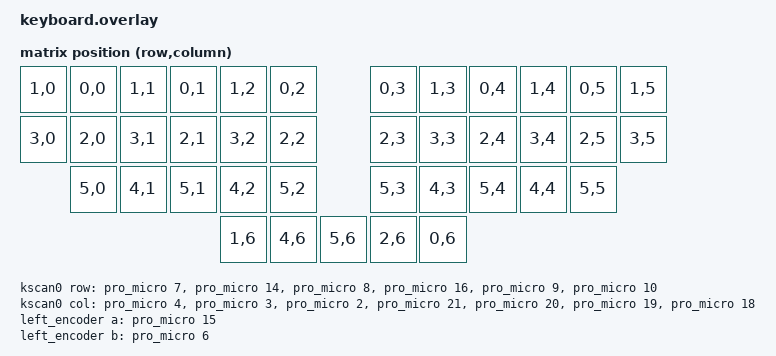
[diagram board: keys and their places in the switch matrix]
#include <dt-bindings/zmk/matrix_transform.h>
#include <physical_layouts.dtsi>

/ {
    chosen {
        zmk,kscan = &kscan0;
        zmk,physical-layout = &physical_layout0;
    };

    kscan0: kscan0 {
        compatible = "zmk,kscan-gpio-matrix";
        wakeup-source;
        diode-direction = "row2col";
        row-gpios
            = <&pro_micro 7 GPIO_ACTIVE_HIGH>
            , <&pro_micro 14 GPIO_ACTIVE_HIGH>
            , <&pro_micro 8 GPIO_ACTIVE_HIGH>
            , <&pro_micro 16 GPIO_ACTIVE_HIGH>
            , <&pro_micro 9 GPIO_ACTIVE_HIGH>
            , <&pro_micro 10 GPIO_ACTIVE_HIGH>
            ;
        col-gpios
            = <&pro_micro 4 (GPIO_ACTIVE_HIGH | GPIO_PULL_DOWN)>
            , <&pro_micro 3 (GPIO_ACTIVE_HIGH | GPIO_PULL_DOWN)>
            , <&pro_micro 2 (GPIO_ACTIVE_HIGH | GPIO_PULL_DOWN)>
            , <&pro_micro 21 (GPIO_ACTIVE_HIGH | GPIO_PULL_DOWN)>
            , <&pro_micro 20 (GPIO_ACTIVE_HIGH | GPIO_PULL_DOWN)>
            , <&pro_micro 19 (GPIO_ACTIVE_HIGH | GPIO_PULL_DOWN)>
            , <&pro_micro 18 (GPIO_ACTIVE_HIGH | GPIO_PULL_DOWN)>
            ;
    };

    left_encoder: encoder {
        compatible = "alps,ec11";
        a-gpios = <&pro_micro 15 (GPIO_ACTIVE_HIGH | GPIO_PULL_UP)>;  /* P1.13 */
        b-gpios = <&pro_micro 6 (GPIO_ACTIVE_HIGH | GPIO_PULL_UP)>;   /* P1.00 */
        resolution = <4>;
        steps = <80>;
        status = "okay";
    };

    sensors {
        compatible = "zmk,keymap-sensors";
        sensors = <&left_encoder>;
        triggers-per-rotation = <20>;
    };

    /*
     * Matrix labels are "column number + row letter" from the wiring diagram
     * (columns 1-7 = col-gpios 0-6, rows A-F = row-gpios 0-5).
     * Entries are listed in PHYSICAL reading order, so key position N in the
     * keymap is the Nth entry here:
     *   row 1 : 12 keys (0-11)      row 2 : 12 keys (12-23)
     *   row 3 : 10 keys (24-33)     row 4 : 5 keys  (34-38, 36 = encoder button)
     */
    default_transform: keymap_transform0 {
        compatible = "zmk,matrix-transform";
        columns = <7>;
        rows = <6>;
        map = <
            RC(1,0) RC(0,0) RC(1,1) RC(0,1) RC(1,2) RC(0,2) RC(0,3) RC(1,3) RC(0,4) RC(1,4) RC(0,5) RC(1,5)
            RC(3,0) RC(2,0) RC(3,1) RC(2,1) RC(3,2) RC(2,2) RC(2,3) RC(3,3) RC(2,4) RC(3,4) RC(2,5) RC(3,5)
            RC(5,0) RC(4,1) RC(5,1) RC(4,2) RC(5,2) RC(5,3) RC(4,3) RC(5,4) RC(4,4) RC(5,5)
            RC(1,6) RC(4,6) RC(5,6) RC(2,6) RC(0,6)
        >;
    };

    /* Approximate flat grid (1u = 100). Only affects the Studio preview. */
    physical_layout0: physical_layout_0 {
        compatible = "zmk,physical-layout";
        display-name = "Default Layout";
        transform = <&default_transform>;
        kscan = <&kscan0>;
        keys  //                     w   h    x    y  rot   rx   ry
            = <&key_physical_attrs 100 100    0    0   0   0   0  /* 1B */>
            , <&key_physical_attrs 100 100  100    0   0   0   0  /* 1A */>
            , <&key_physical_attrs 100 100  200    0   0   0   0  /* 2B */>
            , <&key_physical_attrs 100 100  300    0   0   0   0  /* 2A */>
            , <&key_physical_attrs 100 100  400    0   0   0   0  /* 3B */>
            , <&key_physical_attrs 100 100  500    0   0   0   0  /* 3A */>
            , <&key_physical_attrs 100 100  700    0   0   0   0  /* 4A */>
            , <&key_physical_attrs 100 100  800    0   0   0   0  /* 4B */>
            , <&key_physical_attrs 100 100  900    0   0   0   0  /* 5A */>
            , <&key_physical_attrs 100 100 1000    0   0   0   0  /* 5B */>
            , <&key_physical_attrs 100 100 1100    0   0   0   0  /* 6A */>
            , <&key_physical_attrs 100 100 1200    0   0   0   0  /* 6B */>
            , <&key_physical_attrs 100 100    0  100   0   0   0  /* 1D */>
            , <&key_physical_attrs 100 100  100  100   0   0   0  /* 1C */>
            , <&key_physical_attrs 100 100  200  100   0   0   0  /* 2D */>
            , <&key_physical_attrs 100 100  300  100   0   0   0  /* 2C */>
            , <&key_physical_attrs 100 100  400  100   0   0   0  /* 3D */>
            , <&key_physical_attrs 100 100  500  100   0   0   0  /* 3C */>
            , <&key_physical_attrs 100 100  700  100   0   0   0  /* 4C */>
            , <&key_physical_attrs 100 100  800  100   0   0   0  /* 4D */>
            , <&key_physical_attrs 100 100  900  100   0   0   0  /* 5C */>
            , <&key_physical_attrs 100 100 1000  100   0   0   0  /* 5D */>
            , <&key_physical_attrs 100 100 1100  100   0   0   0  /* 6C */>
            , <&key_physical_attrs 100 100 1200  100   0   0   0  /* 6D */>
            , <&key_physical_attrs 100 100  100  200   0   0   0  /* 1F */>
            , <&key_physical_attrs 100 100  200  200   0   0   0  /* 2E */>
            , <&key_physical_attrs 100 100  300  200   0   0   0  /* 2F */>
            , <&key_physical_attrs 100 100  400  200   0   0   0  /* 3E */>
            , <&key_physical_attrs 100 100  500  200   0   0   0  /* 3F */>
            , <&key_physical_attrs 100 100  700  200   0   0   0  /* 4F */>
            , <&key_physical_attrs 100 100  800  200   0   0   0  /* 4E */>
            , <&key_physical_attrs 100 100  900  200   0   0   0  /* 5F */>
            , <&key_physical_attrs 100 100 1000  200   0   0   0  /* 5E */>
            , <&key_physical_attrs 100 100 1100  200   0   0   0  /* 6F */>
            , <&key_physical_attrs 100 100  400  300   0   0   0  /* 7B */>
            , <&key_physical_attrs 100 100  500  300   0   0   0  /* 7E */>
            , <&key_physical_attrs 100 100  600  300   0   0   0  /* 7F */>
            , <&key_physical_attrs 100 100  700  300   0   0   0  /* 7C */>
            , <&key_physical_attrs 100 100  800  300   0   0   0  /* 7A */>
            ;
    };
};
